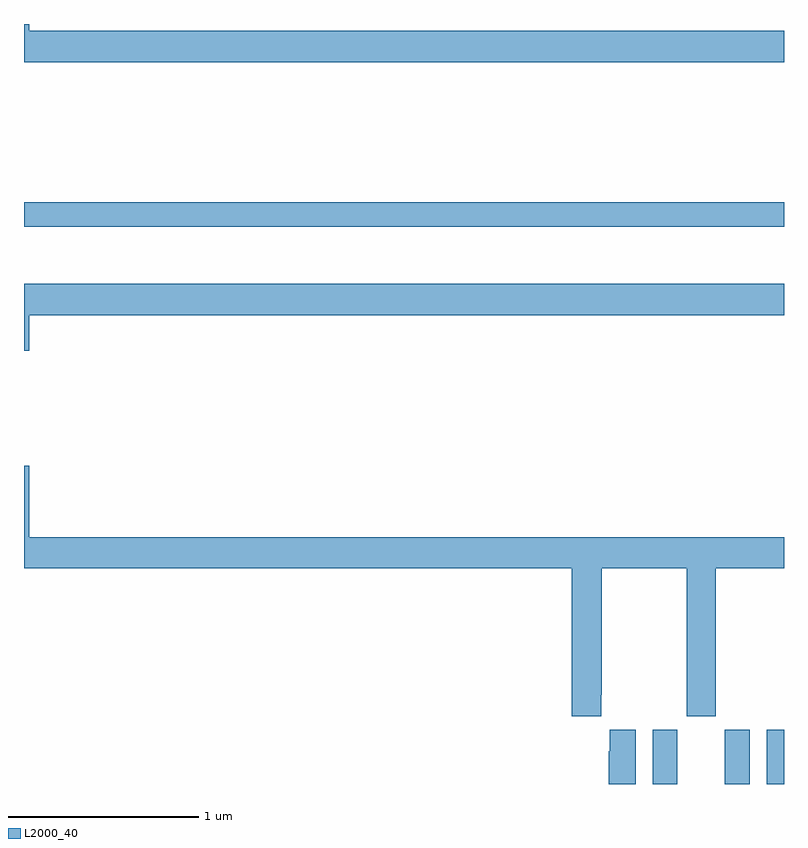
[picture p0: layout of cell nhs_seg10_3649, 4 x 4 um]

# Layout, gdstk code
import gdstk
lib = gdstk.Library(unit=1e-6, precision=1e-09)
def R(c, l, rs):  # rectangles x0, y0, x1, y1
    for r in rs: c.add(gdstk.rectangle(r[:2], r[2:], *l))
def P(c, l, *ps):  # polygons
    for p in ps: c.add(gdstk.Polygon(p, *l))
L2000_40 = (2000, 40)

nhs_seg10_3649 = lib.new_cell('nhs_seg10_3649')
R(nhs_seg10_3649, L2000_40, [(312.308,1312.5,312.439,1312.786), (312.689,1312.5,312.82,1312.786), (312.908,1312.5,313,1312.786), (309,1315.434,313,1315.562)])
P(nhs_seg10_3649, L2000_40, [(313,1316.464),(309.028,1316.464),(309.028,1316.5),(309,1316.5),(309,1316.3),(313,1316.3)],
  [(309.028,1314.968),(313,1314.968),(313,1315.132),(309,1315.132),(309,1314.78),(309.028,1314.78)],
  [(309.028,1314.175),(309,1314.175),(309,1313.636),(311.882,1313.636),(311.882,1312.857),(312.037,1312.857),(312.037,1312.969),(312.042,1312.969),(312.042,1313.636),(312.487,1313.636),(312.487,1312.857),(312.642,1312.857),(312.642,1313.636),(313,1313.636),(313,1313.8),(309.028,1313.8)],
  [(312.22,1312.786),(312.083,1312.786),(312.083,1312.673),(312.077,1312.673),(312.077,1312.5),(312.22,1312.5)])

lib.write_gds('nhs_seg10_3649.gds')
